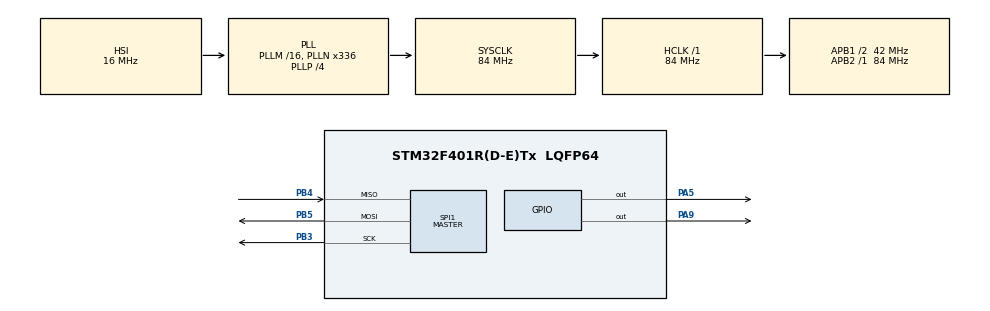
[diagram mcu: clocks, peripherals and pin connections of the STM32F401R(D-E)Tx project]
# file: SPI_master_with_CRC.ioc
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Mcu.Family=STM32F4
RCC.CortexFreq_Value=84000000
SPI1.VirtualType=VM_MASTER
RCC.APB1CLKDivider=RCC_HCLK_DIV2
RCC.SYSCLKSource=RCC_SYSCLKSOURCE_PLLCLK
ProjectManager.StackSize=0x400
ProjectManager.TargetToolchain=SW4STM32
SPI1.Direction=SPI_DIRECTION_2LINES
RCC.HCLKFreq_Value=84000000
RCC.APB2TimFreq_Value=84000000
PA9.Signal=GPIO_Output
RCC.LSE_VALUE=32768
RCC.AHBFreq_Value=84000000
PA5.Signal=GPIO_Output
RCC.HSE_VALUE=8000000
PB3.Mode=Full_Duplex_Master
board=NUCLEO-F401RE
RCC.VCOOutputFreq_Value=336000000
RCC.APB2Freq_Value=84000000
PB4.Mode=Full_Duplex_Master
SPI1.Mode=SPI_MODE_MASTER
PB5.Mode=Full_Duplex_Master
Mcu.Name=STM32F401R(D-E)Tx
PB3.Signal=SPI1_SCK
RCC.SYSCLKFreq_VALUE=84000000
PB5.Signal=SPI1_MOSI
Mcu.Package=LQFP64
ProjectManager.HeapSize=0x200
RCC.HSI_VALUE=16000000
RCC.PLLP=RCC_PLLP_DIV4
RCC.PLLQ=7
NVIC.PriorityGroup=NVIC_PRIORITYGROUP_0
RCC.PLLN=336
RCC.APB1TimFreq_Value=84000000
RCC.APB1Freq_Value=42000000
SPI1.BaudRatePrescaler=SPI_BAUDRATEPRESCALER_64
VP_CRC_VS_CRC.Mode=CRC_Activate
PB4.Signal=SPI1_MISO

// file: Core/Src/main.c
/* USER CODE BEGIN Header */
/**
  ******************************************************************************
  * @file           : main.c
  * @brief          : Main program body
  ******************************************************************************
  * @attention
  *
  * <h2><center>&copy; Copyright (c) 2020 STMicroelectronics.
  * All rights reserved.</center></h2>
  *
  * This software component is licensed by ST under BSD 3-Clause license,
  * the "License"; You may not use this file except in compliance with the
  * License. You may obtain a copy of the License at:
  *                        opensource.org/licenses/BSD-3-Clause
  *
  ******************************************************************************
  */
/* USER CODE END Header */
#include "main.h"
#include <stdlib.h>
#include <stdint.h>
#include <string.h>

/* PINOUT
 * MOSI - PB5
 * MISO - PB4
 * SCK  - PB3
 * CS   - PA9
 * */

/* USER CODE BEGIN PD */
#define BUFFER_SIZE 10U
/* USER CODE END PD */

CRC_HandleTypeDef hcrc;

SPI_HandleTypeDef hspi1;

static uint32_t spiData[11];

static uint32_t CRC_value = 0;

void SystemClock_Config(void);
static void MX_GPIO_Init(void);
static void MX_CRC_Init(void);
static void MX_SPI1_Init(void);

int main(void)
{

  /* MCU Configuration--------------------------------------------------------*/

  /* Reset of all peripherals, Initializes the Flash interface and the Systick. */
  HAL_Init();

  /* Configure the system clock */
  SystemClock_Config();

  /* Initialize all configured peripherals */
  MX_GPIO_Init();
  MX_CRC_Init();
  MX_SPI1_Init();
  /* USER CODE BEGIN 2 */

  HAL_GPIO_WritePin(GPIOA, GPIO_PIN_9, GPIO_PIN_SET);
  HAL_Delay(10);
  uint8_t value = 0;
  /* USER CODE END 2 */

  /* Infinite loop */
  /* USER CODE BEGIN WHILE */

  while (1)
  {
	for(uint8_t count = 0; count<10; count++){
		spiData[count] = value++;
	}

	// Calculating CRC:
	CRC_value = HAL_CRC_Calculate(&hcrc, (uint32_t *)&spiData, BUFFER_SIZE);
	// Copying CRC to the last 4 bytes of the message (MSB)
	spiData[10] = CRC_value;

	// Write Data:
	// 1. Put CS low - Activate
	HAL_GPIO_WritePin(GPIOA, GPIO_PIN_9, GPIO_PIN_RESET);
	// 2. Transmit register address
	HAL_SPI_Transmit(&hspi1, (uint8_t*)spiData, 14*sizeof(uint32_t), 50);
	// 3. Read data
	//HAL_SPI_Receive(&hspi1, &spiData[0], 10, 10);
	// 4. Put CS high - Deactivate
	HAL_GPIO_WritePin(GPIOA, GPIO_PIN_9, GPIO_PIN_SET);
	HAL_Delay(1000);
	CRC_value = 0;
	if(value>240){
		value=0;
	}
  }
  /* USER CODE END WHILE */
}

void SystemClock_Config(void)
{
  RCC_OscInitTypeDef RCC_OscInitStruct = {0};
  RCC_ClkInitTypeDef RCC_ClkInitStruct = {0};

  /** Configure the main internal regulator output voltage
  */
  __HAL_RCC_PWR_CLK_ENABLE();
  __HAL_PWR_VOLTAGESCALING_CONFIG(PWR_REGULATOR_VOLTAGE_SCALE2);
  /** Initializes the RCC Oscillators according to the specified parameters
  * in the RCC_OscInitTypeDef structure.
  */
  RCC_OscInitStruct.OscillatorType = RCC_OSCILLATORTYPE_HSI;
  RCC_OscInitStruct.HSIState = RCC_HSI_ON;
  RCC_OscInitStruct.HSICalibrationValue = RCC_HSICALIBRATION_DEFAULT;
  RCC_OscInitStruct.PLL.PLLState = RCC_PLL_ON;
  RCC_OscInitStruct.PLL.PLLSource = RCC_PLLSOURCE_HSI;
  RCC_OscInitStruct.PLL.PLLM = 16;
  RCC_OscInitStruct.PLL.PLLN = 336;
  RCC_OscInitStruct.PLL.PLLP = RCC_PLLP_DIV4;
  RCC_OscInitStruct.PLL.PLLQ = 7;
  if (HAL_RCC_OscConfig(&RCC_OscInitStruct) != HAL_OK)
  {
    Error_Handler();
  }
  /** Initializes the CPU, AHB and APB buses clocks
  */
  RCC_ClkInitStruct.ClockType = RCC_CLOCKTYPE_HCLK|RCC_CLOCKTYPE_SYSCLK
                              |RCC_CLOCKTYPE_PCLK1|RCC_CLOCKTYPE_PCLK2;
  RCC_ClkInitStruct.SYSCLKSource = RCC_SYSCLKSOURCE_PLLCLK;
  RCC_ClkInitStruct.AHBCLKDivider = RCC_SYSCLK_DIV1;
  RCC_ClkInitStruct.APB1CLKDivider = RCC_HCLK_DIV2;
  RCC_ClkInitStruct.APB2CLKDivider = RCC_HCLK_DIV1;

  if (HAL_RCC_ClockConfig(&RCC_ClkInitStruct, FLASH_LATENCY_2) != HAL_OK)
  {
    Error_Handler();
  }
}

static void MX_CRC_Init(void)
{

  hcrc.Instance = CRC;
  if (HAL_CRC_Init(&hcrc) != HAL_OK)
  {
    Error_Handler();
  }

}

static void MX_SPI1_Init(void)
{

  /* SPI1 parameter configuration*/
  hspi1.Instance = SPI1;
  hspi1.Init.Mode = SPI_MODE_MASTER;
  hspi1.Init.Direction = SPI_DIRECTION_2LINES;
  hspi1.Init.DataSize = SPI_DATASIZE_8BIT;
  hspi1.Init.CLKPolarity = SPI_POLARITY_LOW;
  hspi1.Init.CLKPhase = SPI_PHASE_1EDGE;
  hspi1.Init.NSS = SPI_NSS_SOFT;
  hspi1.Init.BaudRatePrescaler = SPI_BAUDRATEPRESCALER_64;
  hspi1.Init.FirstBit = SPI_FIRSTBIT_MSB;
  hspi1.Init.TIMode = SPI_TIMODE_DISABLE;
  hspi1.Init.CRCCalculation = SPI_CRCCALCULATION_DISABLE;
  hspi1.Init.CRCPolynomial = 10;
  if (HAL_SPI_Init(&hspi1) != HAL_OK)
  {
    Error_Handler();
  }

}

static void MX_GPIO_Init(void)
{
  GPIO_InitTypeDef GPIO_InitStruct = {0};

  /* GPIO Ports Clock Enable */
  __HAL_RCC_GPIOA_CLK_ENABLE();
  __HAL_RCC_GPIOB_CLK_ENABLE();

  /*Configure GPIO pin Output Level */
  HAL_GPIO_WritePin(GPIOA, GPIO_PIN_5|GPIO_PIN_9, GPIO_PIN_RESET);

  /*Configure GPIO pins : PA5 PA9 */
  GPIO_InitStruct.Pin = GPIO_PIN_5|GPIO_PIN_9;
  GPIO_InitStruct.Mode = GPIO_MODE_OUTPUT_PP;
  GPIO_InitStruct.Pull = GPIO_NOPULL;
  GPIO_InitStruct.Speed = GPIO_SPEED_FREQ_LOW;
  HAL_GPIO_Init(GPIOA, &GPIO_InitStruct);

}

void Error_Handler(void)
{
}

/************************ (C) COPYRIGHT STMicroelectronics *****END OF FILE****/
